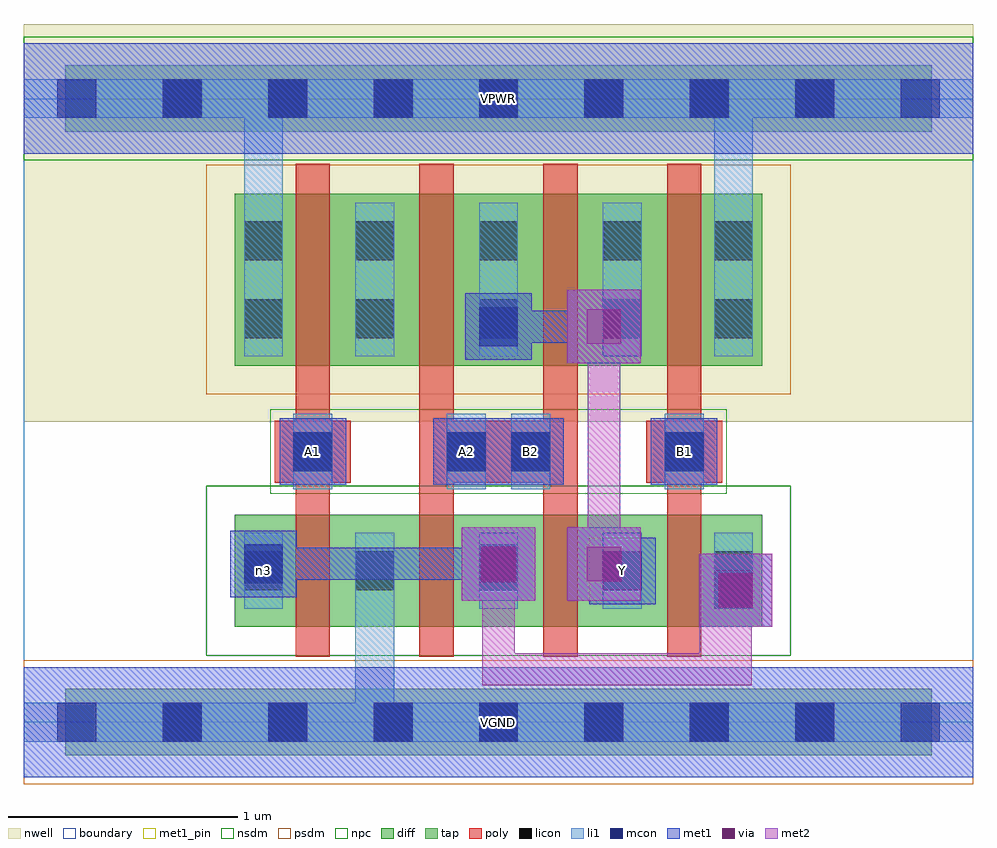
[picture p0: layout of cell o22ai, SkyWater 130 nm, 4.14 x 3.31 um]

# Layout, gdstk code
import gdstk
lib = gdstk.Library(unit=1e-6, precision=1e-09)
def R(c, l, rs):  # rectangles x0, y0, x1, y1
    for r in rs: c.add(gdstk.rectangle(r[:2], r[2:], *l))
def A(c, l, x, y, w, h, nx, ny, dx, dy):  # array of equal rectangles
    R(c, l, [(x+i*dx, y+j*dy, x+i*dx+w, y+j*dy+h) for i in range(nx) for j in range(ny)])
nwell = (64, 20)
diff = (65, 20)
tap = (65, 44)
poly = (66, 20)
licon = (66, 44)
li1 = (67, 20)
mcon = (67, 44)
met1_pin = (68, 16)
met1 = (68, 20)
via = (68, 44)
met2 = (69, 20)
nsdm = (93, 44)
psdm = (94, 20)
npc = (95, 20)
boundary = (235, 4)

o22ai = lib.new_cell('o22ai')
R(o22ai, nwell, [(0,1.31,4.14,3.045)])
R(o22ai, diff, [(0.92,0.415,3.22,0.905), (0.92,1.555,3.22,2.305)])
R(o22ai, tap, [(0.18,-0.145,3.96,0.145), (0.18,2.575,3.96,2.865)])
A(o22ai, poly, 1.185, 0.285, 0.15, 2.15, 4, 1, 0.54, 0)
R(o22ai, poly, [(1.095,1.045,1.425,1.315), (1.765,1.045,2.095,1.315), (2.045,1.045,2.375,1.315), (2.715,1.045,3.045,1.315)])
A(o22ai, licon, 0.605, -0.085, 0.17, 0.17, 7, 2, 0.46, 2.72)
A(o22ai, licon, 1.445, 0.575, 0.17, 0.17, 3, 2, 0.54, 1.1)
A(o22ai, licon, 1.445, 2.015, 0.17, 0.17, 3, 1, 0.54, 0)
R(o22ai, licon, [(0.96,0.575,1.13,0.745), (3.01,0.575,3.18,0.745), (1.175,1.095,1.345,1.265), (1.845,1.095,2.015,1.265), (2.125,1.095,2.295,1.265), (2.795,1.095,2.965,1.265), (0.96,1.675,1.13,1.845), (3.01,1.675,3.18,1.845), (0.96,2.015,1.13,2.185), (3.01,2.015,3.18,2.185)])
A(o22ai, li1, 1.445, 0.495, 0.17, 0.33, 3, 1, 0.54, 0)
A(o22ai, li1, 1.445, 1.595, 0.17, 0.67, 3, 1, 0.54, 0)
R(o22ai, li1, [(0,-0.085,4.14,0.085), (1.445,-0.085,1.615,0.825), (0.96,0.495,1.13,0.825), (3.01,0.495,3.18,0.825), (1.175,1.015,1.345,1.345), (1.845,1.015,2.015,1.345), (2.125,1.015,2.295,1.345), (2.795,1.015,2.965,1.345), (0.96,1.595,1.13,2.265), (0.96,1.595,1.13,2.805), (3.01,1.595,3.18,2.265), (3.01,1.595,3.18,2.805), (0,2.635,4.14,2.805)])
A(o22ai, mcon, 0.145, -0.085, 0.17, 0.17, 9, 2, 0.46, 2.72)
R(o22ai, mcon, [(3.01,0.495,3.18,0.665), (2.525,0.575,2.695,0.745), (0.96,0.605,1.13,0.775), (1.985,0.605,2.155,0.775), (1.175,1.095,1.345,1.265), (1.845,1.095,2.015,1.265), (2.125,1.095,2.295,1.265), (2.795,1.095,2.965,1.265), (1.985,1.64,2.155,1.81)])
R(o22ai, met1_pin, [(0,-0.24,4.14,0.24), (2.465,0.515,2.755,0.805), (1.115,1.035,1.405,1.325), (1.785,1.035,2.075,1.325), (2.065,1.035,2.355,1.325), (2.735,1.035,3.025,1.325), (0,2.48,4.14,2.96)])
R(o22ai, met1, [(0,-0.24,4.14,0.24), (2.945,0.415,3.265,0.735), (2.95,0.435,3.24,0.725), (3.035,0.505,3.175,0.65), (3.025,0.51,3.175,0.65), (2.465,0.515,2.755,0.805), (1.91,0.53,2.23,0.85), (2.37,0.53,2.69,0.85), (0.9,0.545,1.19,0.835), (1.925,0.545,2.215,0.835), (0.975,0.62,1.22,0.76), (1.08,0.62,2.14,0.76), (2.46,0.62,2.715,0.76), (2.575,0.62,2.715,0.76), (1.115,1.035,1.405,1.325), (1.785,1.035,2.075,1.325), (2.065,1.035,2.355,1.325), (2.735,1.035,3.025,1.325), (2.37,1.565,2.69,1.885), (1.925,1.58,2.215,1.87), (2,1.655,2.6,1.795), (0,2.48,4.14,2.96)])
R(o22ai, via, [(3.03,0.5,3.18,0.65), (1.995,0.615,2.145,0.765), (2.455,0.615,2.605,0.765), (2.455,1.65,2.605,1.8)])
R(o22ai, met2, [(2,0.16,2.14,0.76), (2,0.16,3.175,0.3), (3.035,0.16,3.175,0.645), (2.945,0.3,3.175,0.415), (2.945,0.415,3.265,0.735), (1.91,0.53,2.23,0.85), (2.37,0.53,2.69,0.85), (2.46,0.62,2.6,1.795), (2.37,1.565,2.69,1.885)])
R(o22ai, nsdm, [(0.795,0.29,3.345,1.03), (0,2.45,4.14,2.99)])
R(o22ai, psdm, [(0,-0.27,4.14,0.27), (0.795,1.43,3.345,2.43)])
R(o22ai, npc, [(1.075,0.995,3.065,1.365)])
R(o22ai, boundary, [(0,0,4.14,2.72)])
o22ai.add(gdstk.Label('n3', (1.045,0.66), layer=67, texttype=5))
o22ai.add(gdstk.Label('A1', (1.26,1.18), layer=68, texttype=5))
o22ai.add(gdstk.Label('A2', (1.93,1.18), layer=68, texttype=5))
o22ai.add(gdstk.Label('B1', (2.88,1.18), layer=68, texttype=5))
o22ai.add(gdstk.Label('B2', (2.21,1.18), layer=68, texttype=5))
o22ai.add(gdstk.Label('Y', (2.61,0.66), layer=68, texttype=5))
o22ai.add(gdstk.Label('VPWR', (2.07,2.72), layer=68, texttype=5))
o22ai.add(gdstk.Label('VGND', (2.07,0), layer=68, texttype=5))
o22ai.add(gdstk.Label('A1', (1.26,1.18), layer=68, texttype=16))
o22ai.add(gdstk.Label('A2', (1.93,1.18), layer=68, texttype=16))
o22ai.add(gdstk.Label('B1', (2.88,1.18), layer=68, texttype=16))
o22ai.add(gdstk.Label('B2', (2.21,1.18), layer=68, texttype=16))
o22ai.add(gdstk.Label('Y', (2.61,0.66), layer=68, texttype=16))
o22ai.add(gdstk.Label('VPWR', (2.07,2.72), layer=68, texttype=16))
o22ai.add(gdstk.Label('VGND', (2.07,0), layer=68, texttype=16))

lib.write_gds('o22ai.gds')
